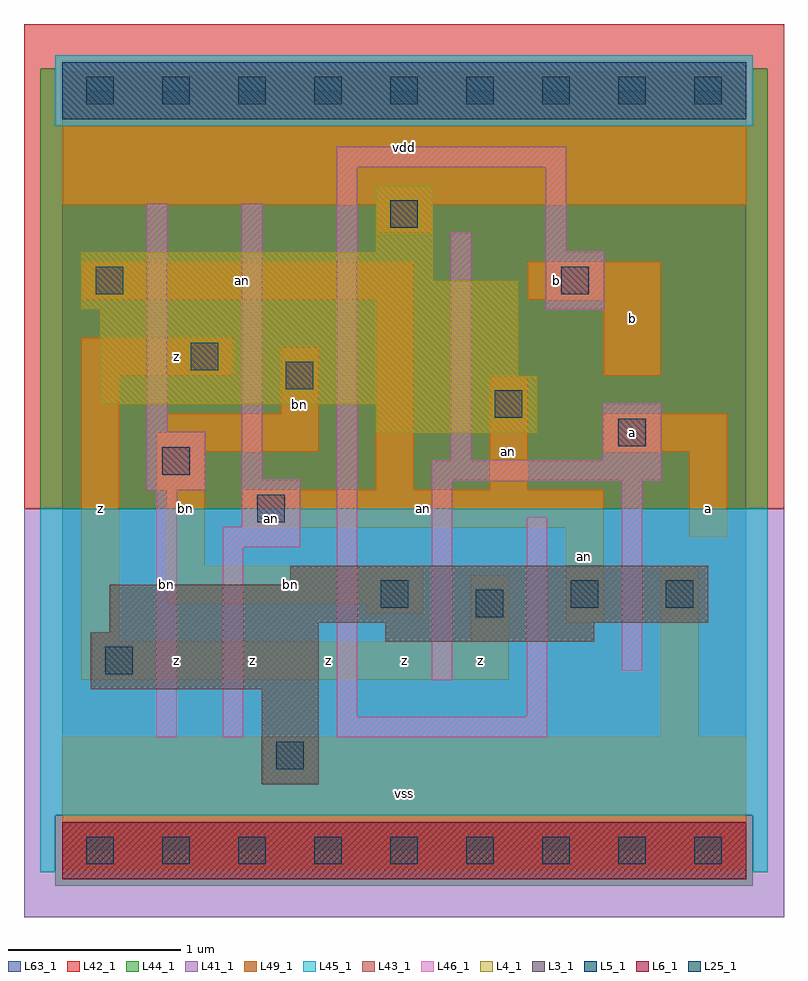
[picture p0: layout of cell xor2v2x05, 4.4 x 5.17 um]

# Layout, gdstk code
import gdstk
lib = gdstk.Library(unit=1e-6, precision=1e-09)
def R(c, l, rs):  # rectangles x0, y0, x1, y1
    for r in rs: c.add(gdstk.rectangle(r[:2], r[2:], *l))
def A(c, l, x, y, w, h, nx, ny, dx, dy):  # array of equal rectangles
    R(c, l, [(x+i*dx, y+j*dy, x+i*dx+w, y+j*dy+h) for i in range(nx) for j in range(ny)])
L3_1 = (3, 1)
L4_1 = (4, 1)
L5_1 = (5, 1)
L6_1 = (6, 1)
L25_1 = (25, 1)
L41_1 = (41, 1)
L42_1 = (42, 1)
L43_1 = (43, 1)
L44_1 = (44, 1)
L45_1 = (45, 1)
L46_1 = (46, 1)
L49_1 = (49, 1)
L63_1 = (63, 1)

xor2v2x05 = lib.new_cell('xor2v2x05')
R(xor2v2x05, L3_1, [(1.155,0.385,1.485,0.935), (0.165,0.935,1.485,1.265), (1.87,1.21,3.08,1.32), (0.275,1.265,1.485,1.32), (0.275,1.32,3.74,1.54), (1.32,1.54,3.74,1.65)])
R(xor2v2x05, L4_1, [(1.815,2.42,2.75,2.585), (0.22,2.585,2.75,2.75), (0.22,2.75,2.64,3.135), (0.11,3.135,2.64,3.3), (0.11,3.3,2.145,3.465), (1.815,3.465,2.145,3.85)])
R(xor2v2x05, L5_1, [(0,4.235,3.96,4.565)])
R(xor2v2x05, L6_1, [(0,-0.165,3.96,0.165)])
A(xor2v2x05, L25_1, 0.14, -0.08, 0.16, 0.16, 9, 2, 0.44, 4.4)
R(xor2v2x05, L25_1, [(1.24,0.47,1.4,0.63), (0.25,1.02,0.41,1.18), (2.395,1.35,2.555,1.51), (1.845,1.405,2.005,1.565), (2.945,1.405,3.105,1.565), (3.495,1.405,3.655,1.565), (1.13,1.9,1.29,2.06), (0.58,2.175,0.74,2.335), (3.22,2.34,3.38,2.5), (2.505,2.505,2.665,2.665), (1.295,2.67,1.455,2.83), (0.745,2.78,0.905,2.94), (0.195,3.22,0.355,3.38), (2.89,3.22,3.05,3.38), (1.9,3.605,2.06,3.765)])
R(xor2v2x05, L41_1, [(-0.22,-0.385,4.18,1.98)])
R(xor2v2x05, L42_1, [(-0.22,1.98,4.18,4.785)])
R(xor2v2x05, L43_1, [(0,-0.165,3.96,0.165), (1.155,0.385,1.485,0.935), (0.165,0.935,1.485,1.265), (1.87,1.21,3.08,1.32), (0.275,1.265,1.485,1.32), (0.275,1.32,3.74,1.54), (1.32,1.54,3.74,1.65), (1.815,2.42,2.75,2.585), (0.22,2.585,2.75,2.75), (0.22,2.75,2.64,3.135), (0.11,3.135,2.64,3.3), (0.11,3.3,2.145,3.465), (1.815,3.465,2.145,3.85), (0,4.235,3.96,4.565)])
R(xor2v2x05, L44_1, [(-0.04,-0.205,4,0.205), (-0.125,1.98,4.085,4.195), (-0.125,4.195,-0.04,4.525), (4,4.195,4.085,4.525)])
R(xor2v2x05, L45_1, [(-0.125,-0.125,-0.04,0.205), (4,-0.125,4.085,0.205), (-0.125,0.205,4.085,1.98), (-0.04,4.195,4,4.605)])
R(xor2v2x05, L46_1, [(0.545,0.655,0.665,2.085), (0.93,0.655,1.05,1.755), (1.59,0.655,2.81,0.775), (1.59,0.775,1.71,3.955), (2.69,0.775,2.81,1.93), (2.14,0.985,2.26,2.14), (3.24,1.04,3.36,2.14), (0.93,1.755,1.38,1.875), (1.04,1.875,1.38,2.15), (0.49,2.085,0.83,2.425), (2.14,2.14,3.47,2.26), (1.04,2.15,1.16,3.745), (2.25,2.26,2.37,3.58), (3.13,2.26,3.47,2.59), (0.49,2.425,0.61,3.745), (2.8,3.13,3.14,3.47), (2.8,3.47,2.92,3.955), (1.59,3.955,2.92,4.075)])
R(xor2v2x05, L49_1, [(0,-0.11,3.96,0.66), (3.465,0.66,3.685,1.65), (0.11,0.99,2.585,1.21), (0.11,1.21,0.33,2.75), (2.365,1.21,2.585,1.595), (2.915,1.32,3.135,1.87), (1.76,1.375,2.09,1.43), (0.605,1.43,2.09,1.65), (0.605,1.65,0.825,2.09), (3.63,1.815,3.85,2.31), (1.045,1.87,3.135,2.09), (0.55,2.09,0.825,2.31), (1.815,2.09,2.035,3.19), (2.475,2.09,2.695,2.75), (0.55,2.31,1.485,2.42), (3.135,2.31,3.85,2.53), (0.605,2.42,1.485,2.53), (1.265,2.53,1.485,2.915), (0.11,2.75,0.99,2.97), (3.135,2.75,3.465,3.19), (0.11,3.19,2.035,3.41), (2.695,3.19,3.465,3.41), (1.815,3.575,2.145,3.74), (0,3.74,3.96,4.51)])
R(xor2v2x05, L63_1, [(0,0,3.96,4.4)])
xor2v2x05.add(gdstk.Label('an', (1.21,1.925), layer=49, texttype=1))
xor2v2x05.add(gdstk.Label('bn', (0.605,1.54), layer=46, texttype=1))
xor2v2x05.add(gdstk.Label('z', (0.22,1.98), layer=49, texttype=1))
xor2v2x05.add(gdstk.Label('z', (0.66,1.1), layer=49, texttype=1))
xor2v2x05.add(gdstk.Label('z', (1.1,1.1), layer=49, texttype=1))
xor2v2x05.add(gdstk.Label('bn', (0.715,1.98), layer=49, texttype=1))
xor2v2x05.add(gdstk.Label('bn', (1.375,2.585), layer=49, texttype=1))
xor2v2x05.add(gdstk.Label('z', (0.66,2.86), layer=49, texttype=1))
xor2v2x05.add(gdstk.Label('vss', (1.98,0.33), layer=49, texttype=1))
xor2v2x05.add(gdstk.Label('z', (1.54,1.1), layer=49, texttype=1))
xor2v2x05.add(gdstk.Label('bn', (1.32,1.54), layer=49, texttype=1))
xor2v2x05.add(gdstk.Label('z', (1.98,1.1), layer=49, texttype=1))
xor2v2x05.add(gdstk.Label('an', (1.045,3.3), layer=49, texttype=1))
xor2v2x05.add(gdstk.Label('vdd', (1.98,4.07), layer=49, texttype=1))
xor2v2x05.add(gdstk.Label('z', (2.42,1.1), layer=49, texttype=1))
xor2v2x05.add(gdstk.Label('an', (3.025,1.705), layer=49, texttype=1))
xor2v2x05.add(gdstk.Label('an', (2.09,1.98), layer=49, texttype=1))
xor2v2x05.add(gdstk.Label('an', (2.585,2.31), layer=49, texttype=1))
xor2v2x05.add(gdstk.Label('b', (2.86,3.3), layer=49, texttype=1))
xor2v2x05.add(gdstk.Label('a', (3.3,2.42), layer=49, texttype=1))
xor2v2x05.add(gdstk.Label('a', (3.74,1.98), layer=49, texttype=1))
xor2v2x05.add(gdstk.Label('b', (3.3,3.08), layer=49, texttype=1))

lib.write_gds('xor2v2x05.gds')
